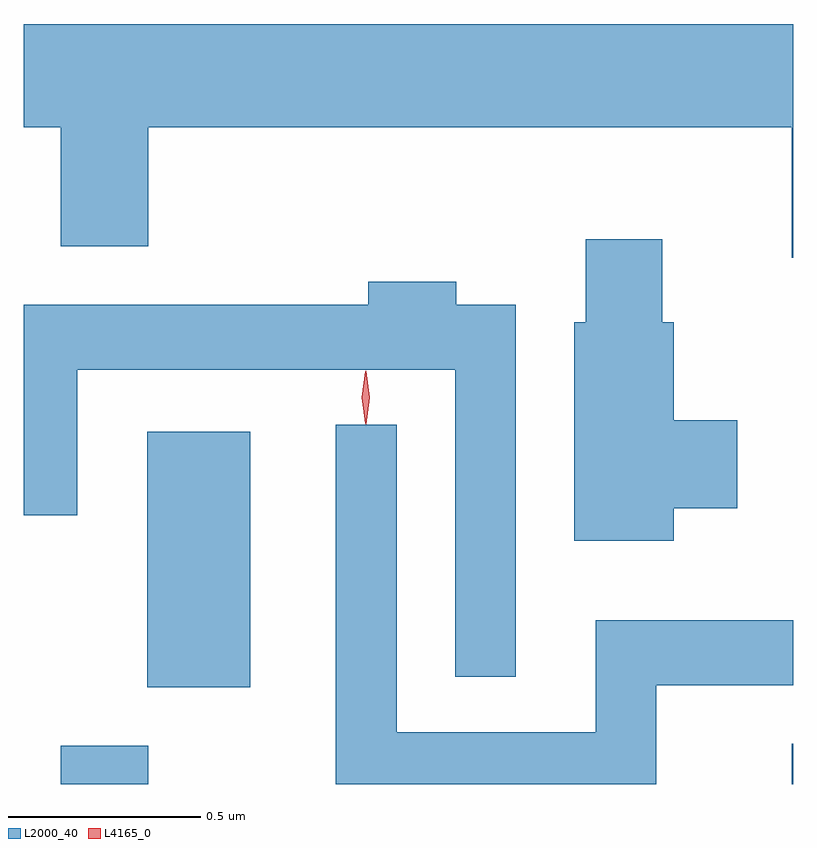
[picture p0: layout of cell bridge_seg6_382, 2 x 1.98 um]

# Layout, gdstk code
import gdstk
lib = gdstk.Library(unit=1e-6, precision=1e-09)
def R(c, l, rs):  # rectangles x0, y0, x1, y1
    for r in rs: c.add(gdstk.rectangle(r[:2], r[2:], *l))
def P(c, l, *ps):  # polygons
    for p in ps: c.add(gdstk.Polygon(p, *l))
L2000_40 = (2000, 40)
L4165_0 = (4165, 0)

bridge_seg6_382 = lib.new_cell('bridge_seg6_382')
R(bridge_seg6_382, L2000_40, [(1330.591,1537.229,1330.819,1537.329), (1332.491,1537.229,1332.495,1537.334), (1330.816,1537.481,1331.084,1538.144)])
P(bridge_seg6_382, L2000_40, [(1332.495,1539.204),(1330.495,1539.204),(1330.495,1538.936),(1330.591,1538.936),(1330.591,1538.626),(1330.819,1538.626),(1330.819,1538.936),(1332.491,1538.936),(1332.491,1538.596),(1332.495,1538.596)],
  [(1332.184,1537.946),(1332.349,1537.946),(1332.349,1538.174),(1332.184,1538.174),(1332.184,1538.429),(1332.154,1538.429),(1332.154,1538.644),(1331.956,1538.644),(1331.956,1538.429),(1331.926,1538.429),(1331.926,1537.861),(1332.184,1537.861)],
  [(1331.774,1538.474),(1331.619,1538.474),(1331.619,1538.534),(1331.391,1538.534),(1331.391,1538.474),(1330.495,1538.474),(1330.495,1537.928),(1330.634,1537.928),(1330.634,1538.306),(1331.616,1538.306),(1331.616,1537.508),(1331.774,1537.508)],
  [(1332.139,1537.486),(1332.495,1537.486),(1332.495,1537.654),(1331.981,1537.654),(1331.981,1537.364),(1331.464,1537.364),(1331.464,1538.163),(1331.306,1538.163),(1331.306,1537.229),(1332.139,1537.229)])
P(bridge_seg6_382, L4165_0, [(1331.384,1538.164),(1331.384,1538.164),(1331.374,1538.233),(1331.384,1538.302),(1331.384,1538.303),(1331.385,1538.302),(1331.394,1538.233),(1331.385,1538.164)],
  [(1331.383,1538.167),(1331.374,1538.234),(1331.383,1538.3),(1331.384,1538.3),(1331.384,1538.3),(1331.394,1538.234),(1331.384,1538.167),(1331.384,1538.167)])

lib.write_gds('bridge_seg6_382.gds')
